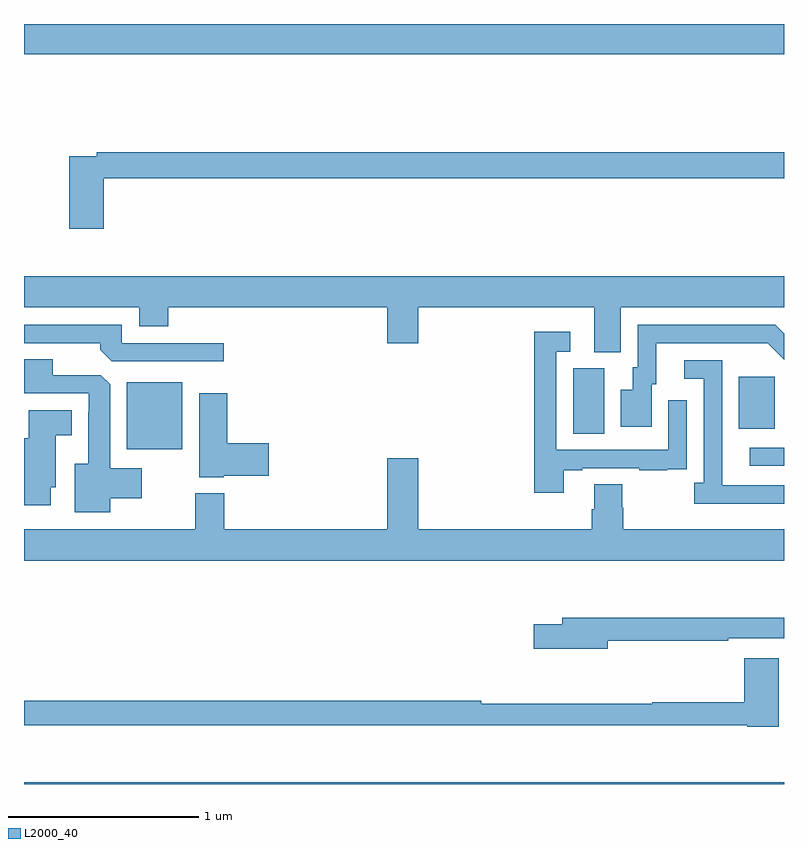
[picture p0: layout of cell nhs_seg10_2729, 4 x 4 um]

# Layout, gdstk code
import gdstk
lib = gdstk.Library(unit=1e-6, precision=1e-09)
def R(c, l, rs):  # rectangles x0, y0, x1, y1
    for r in rs: c.add(gdstk.rectangle(r[:2], r[2:], *l))
def P(c, l, *ps):  # polygons
    for p in ps: c.add(gdstk.Polygon(p, *l))
L2000_40 = (2000, 40)

nhs_seg10_2729 = lib.new_cell('nhs_seg10_2729')
R(nhs_seg10_2729, L2000_40, [(259,1272.5,263,1272.508), (262.821,1274.175,263,1274.271), (259.541,1274.261,259.834,1274.614), (261.89,1274.344,262.054,1274.688), (262.763,1274.369,262.951,1274.644), (259,1276.34,263,1276.5)])
P(nhs_seg10_2729, L2000_40, [(259.421,1275.688),(263,1275.688),(263,1275.824),(259.384,1275.824),(259.384,1275.804),(259.238,1275.804),(259.238,1275.423),(259.421,1275.423)],
  [(262.141,1275.008),(263,1275.008),(263,1275.172),(259,1275.172),(259,1275.008),(259.607,1275.008),(259.607,1274.909),(259.76,1274.909),(259.76,1275.008),(260.912,1275.008),(260.912,1274.82),(261.076,1274.82),(261.076,1275.008),(262.001,1275.008),(262.001,1274.773),(262.141,1274.773)],
  [(260.05,1274.82),(259.515,1274.82),(259.515,1274.916),(259,1274.916),(259,1274.82),(259.4,1274.82),(259.4,1274.786),(259.461,1274.724),(260.05,1274.724)],
  [(262.303,1274.604),(262.327,1274.604),(262.327,1274.82),(262.915,1274.82),(263,1274.734),(263,1274.87),(262.954,1274.916),(262.23,1274.916),(262.23,1274.694),(262.205,1274.694),(262.205,1274.575),(262.142,1274.575),(262.142,1274.379),(262.303,1274.379)],
  [(261.841,1274.151),(261.937,1274.151),(261.937,1274.163),(262.237,1274.163),(262.237,1274.151),(262.385,1274.151),(262.385,1274.157),(262.487,1274.157),(262.487,1274.266),(262.488,1274.266),(262.488,1274.521),(262.392,1274.521),(262.392,1274.259),(261.801,1274.259),(261.801,1274.775),(261.874,1274.775),(261.874,1274.881),(261.685,1274.881),(261.685,1274.034),(261.841,1274.034)],
  [(259.453,1274.003),(259.621,1274.003),(259.621,1274.161),(259.453,1274.161),(259.453,1274.603),(259.404,1274.652),(259.15,1274.652),(259.15,1274.735),(259,1274.735),(259,1274.556),(259.341,1274.556),(259.341,1274.459),(259.337,1274.459),(259.337,1274.185),(259.268,1274.185),(259.268,1273.931),(259.453,1273.931)],
  [(263,1274.073),(262.675,1274.073),(262.675,1274.273),(262.674,1274.273),(262.674,1274.73),(262.476,1274.73),(262.476,1274.634),(262.578,1274.634),(262.578,1274.086),(262.527,1274.086),(262.527,1273.976),(263,1273.976)],
  [(260.052,1274.123),(260.287,1274.123),(260.287,1274.294),(260.069,1274.294),(260.069,1274.557),(259.922,1274.557),(259.922,1274.114),(260.052,1274.114)],
  [(259.141,1274.061),(259.168,1274.061),(259.168,1274.336),(259.252,1274.336),(259.252,1274.467),(259.025,1274.467),(259.025,1274.32),(259,1274.32),(259,1273.968),(259.141,1273.968)],
  [(263,1273.84),(262.154,1273.84),(262.154,1273.953),(262.149,1273.953),(262.149,1274.078),(262.001,1274.078),(262.001,1273.946),(261.989,1273.946),(261.989,1273.84),(261.076,1273.84),(261.076,1274.215),(260.912,1274.215),(260.912,1273.84),(260.054,1273.84),(260.054,1274.029),(259.901,1274.029),(259.901,1273.84),(259,1273.84),(259,1273.676),(263,1273.676)],
  [(262.072,1273.254),(262.706,1273.254),(262.706,1273.266),(263,1273.266),(263,1273.375),(261.833,1273.375),(261.833,1273.341),(261.684,1273.341),(261.684,1273.211),(262.072,1273.211)],
  [(262.973,1273.162),(262.79,1273.162),(262.79,1272.931),(262.306,1272.931),(262.306,1272.923),(261.406,1272.923),(261.406,1272.938),(259,1272.938),(259,1272.81),(262.806,1272.81),(262.806,1272.802),(262.973,1272.802)])

lib.write_gds('nhs_seg10_2729.gds')
